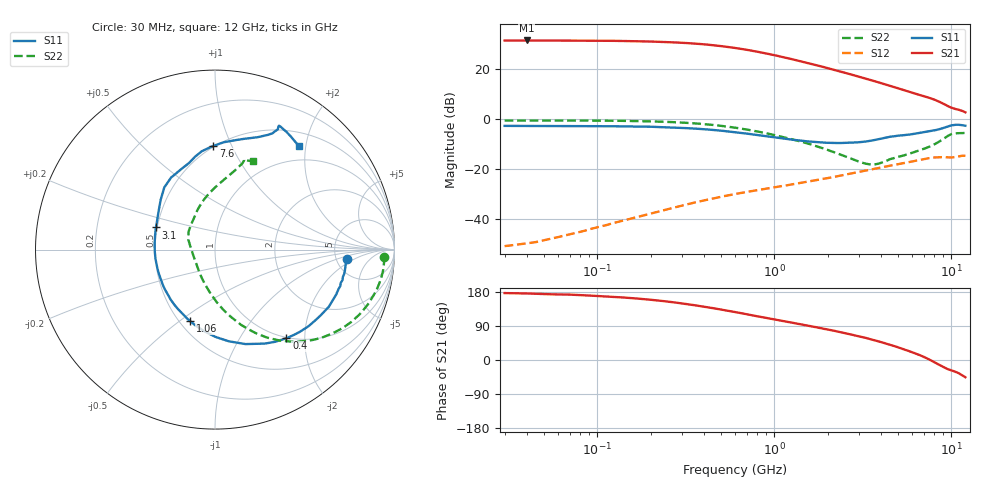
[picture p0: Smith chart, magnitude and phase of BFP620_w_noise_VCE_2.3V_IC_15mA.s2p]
! (c) 2015  Infineon Technologies AG, Munich
! Infineon Technologies  Discrete & RF Semiconductors
! BFP620
! VCE =  2.3 V,  IC =  15 mA
! Common Emitter S-Parameters:  Nov 2015
# GHz  S  MA  R  50
!  f  S11  S21  S12  S22
! GHz  MAG  ANG  MAG  ANG  MAG  ANG  MAG  ANG
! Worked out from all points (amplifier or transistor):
!   239 points, 30 MHz to 12 GHz, reference 50 ohm
!   highest |S21| = 31.5 dB at 40 MHz (marker M1)
!   |S21| within 3 dB of that: start of sweep to 601.6 MHz
!   unconditionally stable (mu >= 1): 3.308 GHz to end of sweep
!   at 300 MHz: K = 0.29, MSG = 32.6 dB, |S12| = -34.6 dB
!   at 1.88 GHz: K = 0.85, MSG = 22.4 dB, |S12| = -23.9 dB
!   at 12 GHz: K = 1.12, MAG = 6.6 dB, |S12| = -14.6 dB
!   lowest NFmin = 0.85 dB at 450 MHz
!   S11 on the Smith chart (normalised r, x): 30 MHz: 6.32, -1.39; 400 MHz: 0.98, -1.63; 1.06 GHz: 0.57, -0.55; 3.1 GHz: 0.49, +0.14; 7.6 GHz: 0.49, +0.85; 12 GHz: 0.72, +1.86
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0.03  0.7379 -3.9  37.58 176.6  0.0029 48.6  0.9425 -2.4
0.04  0.7335 -5.4  37.7 175.6  0.0033 52.3  0.9435 -3.4
0.05  0.7329 -6.4  37.59 173.7  0.0038 55.0  0.9445 -4.4
0.07  0.7333 -9.4  37.59 172.5  0.005 64.3  0.9442 -6.4
0.085  0.7304 -11.3  37.37 170.7  0.0059 66.6  0.9423 -7.9
0.15  0.7201 -20.3  36.68 164.0  0.01 70.7  0.9269 -14.3
0.2  0.7096 -26.7  35.89 159.0  0.013 69.9  0.9084 -19.0
0.24  0.6936 -31.8  35.11 155.1  0.0154 69.2  0.8904 -22.7
0.3  0.6735 -39.4  33.94 149.4  0.0187 67.6  0.8602 -27.9
0.4  0.6342 -51.2  31.6 140.7  0.0238 64.3  0.8017 -35.8
0.5  0.5926 -62.1  29.09 133.0  0.0282 61.1  0.7403 -42.9
0.6  0.5532 -72.1  26.73 126.4  0.032 58.6  0.6805 -49.1
0.8  0.4859 -89.8  22.48 115.4  0.0382 54.6  0.5716 -59.2
1.06  0.4224 -108.9  18.3 104.9  0.045 51.4  0.4624 -69.0
1.3  0.3864 -124.0  15.48 97.3  0.0508 49.5  0.3871 -76.5
1.64  0.3545 -143.0  12.66 88.4  0.0586 47.2  0.3078 -85.9
2.22  0.3358 -170.1  9.566 76.2  0.0715 43.5  0.2137 -102.7
3.1  0.3512 159.4  6.901 61.0  0.0906 36.9  0.1373 -135.8
4.5  0.4471 129.2  4.662 40.0  0.1179 25.1  0.1593 159.2
7.6  0.5776 90.9  2.642 -0.0  0.1681 -3.4  0.2879 101.8
9  0.6692 69.3  2.056 -18.6  0.1753 -18.5  0.404 81.2
12  0.7429 51.2  1.377 -45.6  0.1859 -39.5  0.5366 66.7
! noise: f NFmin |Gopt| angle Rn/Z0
0.45  0.85  0.11  -3  0.11
0.9  0.85  0.07  6  0.1
1.9  0.86  0.04  18  0.1
2.4  0.9  0.06  -137  0.1
3.5  0.93  0.11  -97  0.13
5.5  1.22  0.13  -90  0.15
10  1.67  0.6  -49  0.75
